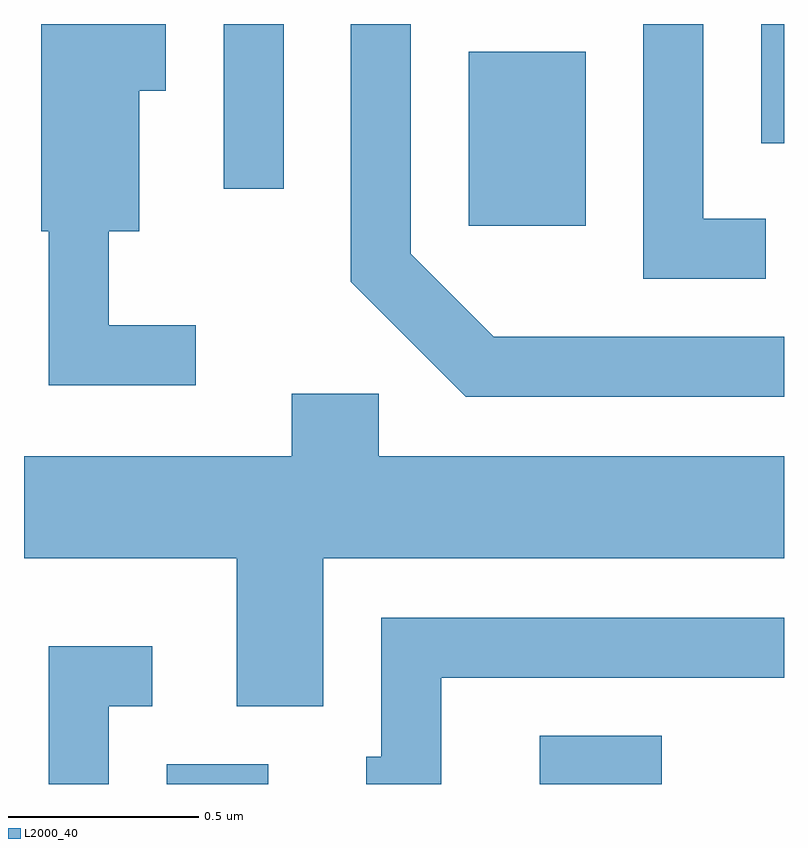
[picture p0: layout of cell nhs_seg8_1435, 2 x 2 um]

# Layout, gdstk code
import gdstk
lib = gdstk.Library(unit=1e-6, precision=1e-09)
def R(c, l, rs):  # rectangles x0, y0, x1, y1
    for r in rs: c.add(gdstk.rectangle(r[:2], r[2:], *l))
def P(c, l, *ps):  # polygons
    for p in ps: c.add(gdstk.Polygon(p, *l))
L2000_40 = (2000, 40)

nhs_seg8_1435 = lib.new_cell('nhs_seg8_1435')
R(nhs_seg8_1435, L2000_40, [(195.986,1871.342,196.254,1871.394), (196.968,1871.342,197.289,1871.469), (196.781,1872.811,197.089,1873.269), (196.136,1872.908,196.294,1873.342), (197.551,1873.028,197.611,1873.342)])
P(nhs_seg8_1435, L2000_40, [(197.563,1872.829),(197.399,1872.829),(197.399,1873.342),(197.241,1873.342),(197.241,1872.671),(197.563,1872.671)],
  [(196.063,1872.549),(195.834,1872.549),(195.834,1872.796),(195.914,1872.796),(195.914,1873.166),(195.984,1873.166),(195.984,1873.342),(195.656,1873.342),(195.656,1872.796),(195.676,1872.796),(195.676,1872.391),(196.063,1872.391)],
  [(197.611,1872.519),(196.847,1872.519),(196.629,1872.737),(196.629,1873.342),(196.471,1873.342),(196.471,1872.664),(196.774,1872.361),(197.611,1872.361)],
  [(196.399,1871.936),(197.611,1871.936),(197.611,1872.204),(196.544,1872.204),(196.544,1872.369),(196.316,1872.369),(196.316,1872.204),(195.611,1872.204),(195.611,1871.936),(196.171,1871.936),(196.171,1871.546),(196.399,1871.546)],
  [(196.709,1871.621),(197.611,1871.621),(197.611,1871.779),(196.551,1871.779),(196.551,1871.414),(196.511,1871.414),(196.511,1871.342),(196.709,1871.342)],
  [(195.834,1871.546),(195.948,1871.546),(195.948,1871.704),(195.676,1871.704),(195.676,1871.342),(195.834,1871.342)])

lib.write_gds('nhs_seg8_1435.gds')
